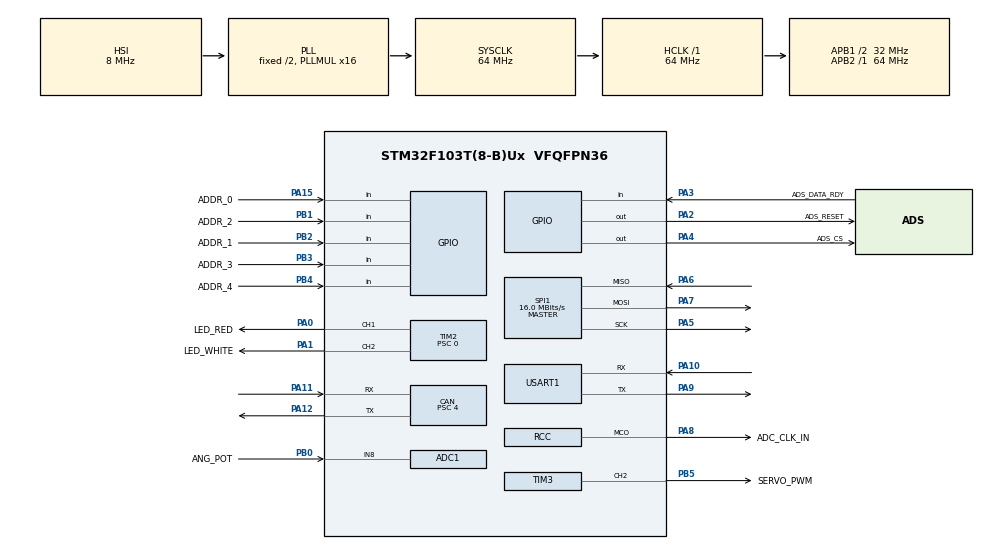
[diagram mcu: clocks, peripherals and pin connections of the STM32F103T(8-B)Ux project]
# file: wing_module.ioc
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ADC1.Channel-4\#ChannelRegularConversion=ADC_CHANNEL_8
ADC1.ContinuousConvMode=ENABLE
ADC1.NbrOfConversionFlag=1
ADC1.Rank-4\#ChannelRegularConversion=1
ADC1.SamplingTime-4\#ChannelRegularConversion=ADC_SAMPLETIME_1CYCLE_5
ADC1.master=1
CAN.BS1=CAN_BS1_12TQ
CAN.BS2=CAN_BS2_3TQ
CAN.CalculateBaudRate=500000
CAN.CalculateTimeBit=2000
CAN.CalculateTimeQuantum=125.0
CAN.NART=ENABLE
CAN.Prescaler=4
CAN.SJW=CAN_SJW_1TQ
CAN.TTCM=ENABLE
Mcu.Family=STM32F1
Mcu.Name=STM32F103T(8-B)Ux
Mcu.Package=VFQFPN36
NVIC.PriorityGroup=NVIC_PRIORITYGROUP_4
NVIC.TIM1_UP_IRQn=true\:15\:0\:false\:false\:true\:false\:true\:true
NVIC.TimeBase=TIM1_UP_IRQn
NVIC.TimeBaseIP=TIM1
PA0-WKUP.GPIO_Label=LED_RED
PA0-WKUP.GPIO_Speed=GPIO_SPEED_FREQ_LOW
PA0-WKUP.Signal=S_TIM2_CH1_ETR
PA1.GPIO_Label=LED_WHITE
PA1.Signal=S_TIM2_CH2
PA10.Mode=Asynchronous
PA10.Signal=USART1_RX
PA11.Mode=CAN_Activate
PA11.Signal=CAN_RX
PA12.Mode=CAN_Activate
PA12.Signal=CAN_TX
PA13.Mode=Serial_Wire
PA13.Signal=SYS_JTMS-SWDIO
PA14.Mode=Serial_Wire
PA14.Signal=SYS_JTCK-SWCLK
PA15.GPIO_Label=ADDR_0
PA15.GPIO_PuPd=GPIO_PULLDOWN
PA15.Signal=GPIO_Input
PA2.GPIO_Label=ADS_RESET
PA2.Signal=GPIO_Output
PA3.GPIO_Label=ADS_DATA_RDY
PA3.GPIO_PuPd=GPIO_PULLUP
PA3.Signal=GPIO_Input
PA4.GPIO_Label=ADS_CS
PA4.Signal=GPIO_Output
PA5.Mode=Full_Duplex_Master
PA5.Signal=SPI1_SCK
PA6.Mode=Full_Duplex_Master
PA6.Signal=SPI1_MISO
PA7.Mode=Full_Duplex_Master
PA7.Signal=SPI1_MOSI
PA8.GPIO_Label=ADC_CLK_IN
PA8.Mode=Clock-out
PA8.Signal=RCC_MCO
PA9.Mode=Asynchronous
PA9.Signal=USART1_TX
PB0.GPIO_Label=ANG_POT
PB0.Signal=ADCx_IN8
PB1.GPIO_Label=ADDR_2
PB1.GPIO_PuPd=GPIO_PULLDOWN
PB1.Signal=GPIO_Input
PB2.GPIO_Label=ADDR_1
PB2.GPIO_PuPd=GPIO_PULLDOWN
PB2.Signal=GPIO_Input
PB3.GPIO_Label=ADDR_3
PB3.GPIO_PuPd=GPIO_PULLDOWN
PB3.Signal=GPIO_Input
PB4.GPIO_Label=ADDR_4
PB4.GPIO_PuPd=GPIO_PULLDOWN
PB4.Signal=GPIO_Input
PB5.GPIO_Label=SERVO_PWM
PB5.Signal=S_TIM3_CH2
PB6.Signal=I2C1_SCL
PB7.Signal=I2C1_SDA
ProjectManager.HeapSize=0x200
ProjectManager.StackSize=0x400
ProjectManager.TargetToolchain=STM32CubeIDE
RCC.ADCPresc=RCC_ADCPCLK2_DIV8
RCC.AHBFreq_Value=64000000
RCC.APB1CLKDivider=RCC_HCLK_DIV2
RCC.APB1Freq_Value=32000000
RCC.APB1TimFreq_Value=64000000
RCC.APB2Freq_Value=64000000
RCC.APB2TimFreq_Value=64000000
RCC.HCLKFreq_Value=64000000
RCC.PLLMUL=RCC_PLL_MUL16
RCC.RCC_MCOSource=RCC_MCO1SOURCE_HSI
RCC.SYSCLKFreq_VALUE=64000000
RCC.SYSCLKSource=RCC_SYSCLKSOURCE_PLLCLK
RCC.USBFreq_Value=64000000
SH.ADCx_IN8.0=ADC1_IN8,IN8
SH.S_TIM2_CH1_ETR.0=TIM2_CH1,PWM Generation1 CH1
SH.S_TIM2_CH2.0=TIM2_CH2,PWM Generation2 CH2
SH.S_TIM3_CH2.0=TIM3_CH2,PWM Generation2 CH2
SPI1.BaudRatePrescaler=SPI_BAUDRATEPRESCALER_4
SPI1.CLKPhase=SPI_PHASE_2EDGE
SPI1.CRCCalculation=SPI_CRCCALCULATION_DISABLE
SPI1.CalculateBaudRate=16.0 MBits/s
SPI1.Direction=SPI_DIRECTION_2LINES
SPI1.Mode=SPI_MODE_MASTER
SPI1.VirtualType=VM_MASTER
TIM2.Channel-PWM\ Generation1\ CH1=TIM_CHANNEL_1
TIM2.Channel-PWM\ Generation2\ CH2=TIM_CHANNEL_2
TIM2.Period=255
TIM2.Prescaler=0
TIM2.Pulse-PWM\ Generation1\ CH1=127
TIM2.Pulse-PWM\ Generation2\ CH2=127
TIM3.AutoReloadPreload=TIM_AUTORELOAD_PRELOAD_ENABLE
TIM3.Channel-PWM\ Generation2\ CH2=TIM_CHANNEL_2
TIM3.ClockDivision=TIM_CLOCKDIVISION_DIV1
TIM3.Period=19999
TIM3.Prescaler=63
USART1.VirtualMode=VM_ASYNC
VP_SYS_VS_tim1.Mode=TIM1
VP_TIM2_VS_ClockSourceINT.Mode=Internal
VP_TIM3_VS_ClockSourceINT.Mode=Internal
board=custom

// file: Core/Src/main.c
/* USER CODE BEGIN Header */
/**
  ******************************************************************************
  * @file           : main.c
  * @brief          : Main program body
  ******************************************************************************
  * @attention
  *
  * Copyright (c) 2025 STMicroelectronics.
  * All rights reserved.
  *
  * This software is licensed under terms that can be found in the LICENSE file
  * in the root directory of this software component.
  * If no LICENSE file comes with this software, it is provided AS-IS.
  *
  ******************************************************************************
  */
/* USER CODE END Header */
#include "main.h"

/* USER CODE BEGIN Includes */
#include "wing_module_config.h"
#include "can_wrapper.h"
#include <stdint.h>
#include <stdio.h>
#include <string.h>
#include "ads131m03.h"
#include "led_control.h"
#include "surface_control.h"
/* USER CODE END Includes */

ADC_HandleTypeDef hadc1;

CAN_HandleTypeDef hcan;

SPI_HandleTypeDef hspi1;

TIM_HandleTypeDef htim2;
TIM_HandleTypeDef htim3;

UART_HandleTypeDef huart1;

/* USER CODE BEGIN PV */
struct WingModuleConfig config;
/* USER CODE END PV */

void SystemClock_Config(void);
static void MX_GPIO_Init(void);
static void MX_CAN_Init(void);
static void MX_SPI1_Init(void);
static void MX_TIM2_Init(void);
static void MX_USART1_UART_Init(void);
static void MX_ADC1_Init(void);
static void MX_TIM3_Init(void);
/* USER CODE BEGIN PFP */
#ifdef __GNUC__
/* With GCC/RAISONANCE, small printf (option LD Linker->Libraries->Small printf
   set to 'Yes') calls __io_putchar() */
#define PUTCHAR_PROTOTYPE int __io_putchar(int ch)
#else
#define PUTCHAR_PROTOTYPE int fputc(int ch, FILE *f)
#endif /* __GNUC__ */
/* USER CODE END PFP */

/* USER CODE BEGIN 0 */

// Since we have two FIFOs, I'll use one for configuration messages and the other for commands to the module
void can_process_config_message(struct WingModuleConfig* config, CAN_HandleTypeDef* can) {
	int messages = HAL_CAN_GetRxFifoFillLevel(can, CAN_CONFIG_FIFO);

	for (int i = 0; i < messages; i++) {
		CAN_RxHeaderTypeDef header;
		uint8_t buffer[8];
		HAL_CAN_GetRxMessage(can, CAN_CONFIG_FIFO, &header, buffer);

		unsigned int config_type = (header.StdId >> CAN_CONFIG_BIT_START) & 0x7;

		uint8_t reference_buffer[8];
		size_t length_to_consider = 0;

		switch (config_type) {
		case CONFIG_MESSAGE_GENERAL:
			length_to_consider = can_pack_node_general_config_command(reference_buffer, config->general);
			break;
		case CONFIG_MESSAGE_SERVO:
			length_to_consider = can_pack_servo_config_command(reference_buffer, config->servo);
			break;
		case CONFIG_MESSAGE_TORSION:
			length_to_consider = can_pack_strain_gauge_config_command(reference_buffer, config->torsion);
			break;
		case CONFIG_MESSAGE_STRAIN:
			length_to_consider = can_pack_strain_gauge_config_command(reference_buffer, config->strain);
			break;
		case CONFIG_MESSAGE_INDICATOR:
			length_to_consider = can_pack_indicator_config_command(reference_buffer, config->indicator);
			break;
		case CONFIG_MESSAGE_LIDAR:
			length_to_consider = can_pack_lidar_config_command(reference_buffer, config->lidar);
			break;
		default:
			continue; // Ignore unrecognized messages
		}

		bool matches_old = memcmp(reference_buffer, buffer, length_to_consider) == 0;
		bool need_this_config = (config->configuration_needed & (1 << config_type)) != 0;
		if (matches_old && !need_this_config) continue; // Skip updates if unnecessary repetition

		// Mask out the received configuration
		config->configuration_needed &= ~(1 << config_type);

		// Need to update CAN filters if the configuration changes
		switch (config_type) {
		case CONFIG_MESSAGE_GENERAL:
			can_unpack_node_general_config_command(buffer, &config->general);

			// Reset configuration
			config->configuration_needed = 0;
			if (config->general.driving_servo) 			config->configuration_needed |= 1 << CONFIG_MESSAGE_SERVO;
			if (config->general.measuring_torsion) 		config->configuration_needed |= 1 << CONFIG_MESSAGE_TORSION;
			if (config->general.measuring_strain) 		config->configuration_needed |= 1 << CONFIG_MESSAGE_STRAIN;
			if (config->general.operating_indicator) 	config->configuration_needed |= 1 << CONFIG_MESSAGE_INDICATOR;
			if (config->general.measuring_lidar) 		config->configuration_needed |= 1 << CONFIG_MESSAGE_LIDAR;
			surface_stop(); // Stop driving surface

			break;
		case CONFIG_MESSAGE_SERVO:
			can_unpack_servo_config_command(buffer, &config->servo);

			struct SurfaceConfiguration servo_config = {
				.misalignment_alarm_sec = config->servo.misalignment_alarm_sec,
				.position_tolerance = config->servo.position_tolerance_half_percent * 0.005,

				.pot_adc = &hadc1,
				.potentiometer_bottom = config->servo.potentiometer_bottom,
				.potentiometer_top = config->servo.potentiometer_top,

				.scheme = config->servo.scheme,

				.servo_bottom_us = config->servo.servo_bottom_us,
				.servo_top_us = config->servo.servo_top_us,
				.servo_timer = &htim3,
				.servo_timer_channel = TIM_CHANNEL_2,
			};

			surface_start(servo_config);
			break;
		case CONFIG_MESSAGE_TORSION:
			can_unpack_strain_gauge_config_command(buffer, &config->torsion);

			struct ADSChannelProcessingConfig temp_torsion = {
				.buffer_length = 64 * (config->torsion.buffer_depth_64_samples + 1),
				.gain = config->torsion.gain,
				.osr = config->torsion.osr,
				.zero_point = config->torsion.zero_point,
				.scaling_factor = config->torsion.scaling_factor,
			};

			ads_configure_channel(ADS_CHANNEL_TORSION, temp_torsion);
			break;
		case CONFIG_MESSAGE_STRAIN:
			can_unpack_strain_gauge_config_command(buffer, &config->strain);

			struct ADSChannelProcessingConfig temp_strain = {
				.buffer_length = 64 * (config->strain.buffer_depth_64_samples + 1),
				.gain = config->strain.gain,
				.osr = config->strain.osr,
				.zero_point = config->strain.zero_point,
				.scaling_factor = config->strain.scaling_factor,
			};

			ads_configure_channel(ADS_CHANNEL_STRAIN, temp_strain);
			break;
		case CONFIG_MESSAGE_INDICATOR:
			can_unpack_indicator_config_command(buffer, &config->indicator);
			break;
		case CONFIG_MESSAGE_LIDAR:
			can_unpack_lidar_config_command(buffer, &config->lidar);
			break;
		}
	}

	if (config->configuration_needed == 0) {
		can_update_node_filters(config, can);
	}
}

void can_process_control_message(struct WingModuleConfig* config, CAN_HandleTypeDef* can) {

}
/* USER CODE END 0 */

int main(void)
{

  /* MCU Configuration--------------------------------------------------------*/

  /* Reset of all peripherals, Initializes the Flash interface and the Systick. */
  HAL_Init();

  /* Configure the system clock */
  SystemClock_Config();

  /* Initialize all configured peripherals */
  MX_GPIO_Init();
  MX_CAN_Init();
  MX_SPI1_Init();
  MX_TIM2_Init();
  MX_USART1_UART_Init();
  MX_ADC1_Init();
  MX_TIM3_Init();
  /* USER CODE BEGIN 2 */

   	// NOTE: for some reason starting I2C causes issues on the channel 2 of timer 3, so it may need to be disabled for servo destined modules

	config.node_id = 0;
	const bool ADDRESS_ACTIVE = true;
	if (HAL_GPIO_ReadPin(ADDR_0_GPIO_Port, ADDR_0_Pin) == ADDRESS_ACTIVE) config.node_id += 1;
	if (HAL_GPIO_ReadPin(ADDR_1_GPIO_Port, ADDR_1_Pin) == ADDRESS_ACTIVE) config.node_id += 2;
	if (HAL_GPIO_ReadPin(ADDR_2_GPIO_Port, ADDR_2_Pin) == ADDRESS_ACTIVE) config.node_id += 4;
	if (HAL_GPIO_ReadPin(ADDR_3_GPIO_Port, ADDR_3_Pin) == ADDRESS_ACTIVE) config.node_id += 8;
	if (HAL_GPIO_ReadPin(ADDR_4_GPIO_Port, ADDR_4_Pin) == ADDRESS_ACTIVE) config.node_id += 16;
	printf("Recorded node ID as %d\r\n", config.node_id);

	config.configuration_needed = (1 << CONFIG_MESSAGE_GENERAL); // Mark need for main configuration
	// Perhaps in the future we can read in previous configuration from flash here

	can_update_node_filters(&config, &hcan);

	struct ADSConfig ads_config = {
		.bus = &hspi1,
		.cs_pin = ADS_CS_Pin,
		.cs_port = ADS_CS_GPIO_Port,
		.reset_pin = ADS_RESET_Pin,
		.reset_port = ADS_RESET_GPIO_Port,
		.data_ready_pin = ADS_DATA_RDY_Pin,
		.data_ready_port = ADS_DATA_RDY_GPIO_Port,
	};
	ads_begin(ads_config);

	struct LEDControl led = {
		.error_light_on = config.configuration_needed != 0,
		.heart_beat_max_duty = UINT8_MAX,
		.heart_beat_min_duty = 0,
		.new_pulse_data = true,
		.pulse_count = 3, // Run some flashes to start
		.pulse_period_on_ms = 1000,
		.pulse_period_off_ms = 300,

		.error_timer = &htim2,
		.error_channel = LED_RED_CHANNEL,
		.status_timer = &htim2,
		.status_channel = LED_WHITE_CHANNEL,
	};

	struct SurfaceConfiguration servo_config = {
		.misalignment_alarm_sec = 5,
		.position_tolerance = 0.1,

		.pot_adc = &hadc1,
		.potentiometer_bottom = 0,
		.potentiometer_top = 4095,

		.scheme = CONTROL_SCHEME_OPEN,

		.servo_bottom_us = 1500,
		.servo_top_us = 2500,
		.servo_timer = &htim3,
		.servo_timer_channel = SERVO_CHANNEL,
	};

	surface_start(servo_config);
  /* USER CODE END 2 */

  /* Infinite loop */
  /* USER CODE BEGIN WHILE */
	while (1) {
		const uint32_t CURRENT_TICK = HAL_GetTick();

		ads_update_channels();
		surface_control_loop();

		static uint32_t tick_mark_broadcast_ms = 0;
		if (CURRENT_TICK > tick_mark_broadcast_ms) {
			tick_mark_broadcast_ms = CURRENT_TICK + config.general.update_period_ms;
			uint8_t tx_buffer[8];

			if (config.general.measuring_strain || config.general.measuring_torsion) {
				struct CANLoadBroadcast msg = {
					.strain_reading = 0,
					.torsion_reading = 0,
				};
				if (config.general.measuring_strain) msg.strain_reading = ads_read_channel(ADS_CHANNEL_STRAIN);
				if (config.general.measuring_torsion) msg.torsion_reading = ads_read_channel(ADS_CHANNEL_TORSION);
				can_pack_load_broadcast(tx_buffer, msg);

				printf("T: %.3f\tS: %.3f\r\n", msg.torsion_reading, msg.strain_reading);

				CAN_TxHeaderTypeDef strain_gauge_header = {
					.StdId = CAN_BROADCAST_LOAD_ID_BASE | config.node_id,
					.DLC = sizeof(struct CANLoadBroadcast),
					.ExtId = 0,
					.IDE = CAN_ID_STD,
					.RTR = CAN_RTR_DATA,
					.TransmitGlobalTime = DISABLE,
				};
				uint32_t mailbox;
				if (HAL_CAN_AddTxMessage(&hcan, &strain_gauge_header, tx_buffer, &mailbox) == HAL_OK) {
					printf("SENT STRAIN READINGS OVER CAN\r\n");
				}
			}

			if (config.general.driving_servo) {
				struct CANSurfaceBroadcast msg = {
					.reading_thousandths = 0,
					.surface_not_following = false,
				};
				surface_prepare_broadcast(&msg);
				can_pack_surface_broadcast(tx_buffer, msg);

				printf("Angle: %.3f\tAlarm: %d\r\n", msg.reading_thousandths / 1000.0, msg.surface_not_following);

				CAN_TxHeaderTypeDef angle_header = {
					.StdId = CAN_BROADCAST_ANGLE_ID | config.servo.surface,
					.DLC = sizeof(struct CANSurfaceBroadcast),
					.ExtId = 0,
					.IDE = CAN_ID_STD,
					.RTR = CAN_RTR_DATA,
					.TransmitGlobalTime = DISABLE,
				};
				uint32_t mailbox;
				if (HAL_CAN_AddTxMessage(&hcan, &angle_header, tx_buffer, &mailbox) == HAL_OK) {
					printf("SENT ANGLE OVER CAN\r\n");
				}
			}
		}

		while (HAL_CAN_GetRxFifoFillLevel(&hcan, CAN_CONFIG_FIFO) > 0) {
			can_process_config_message(&config, &hcan);
		}

		while (HAL_CAN_GetRxFifoFillLevel(&hcan, CAN_COMMAND_FIFO) > 0) {
			uint8_t command_buffer[8];
			CAN_RxHeaderTypeDef command_header;

			HAL_CAN_GetRxMessage(&hcan, CAN_COMMAND_FIFO, &command_header, command_buffer);
			printf("Received command via filter %ld\r\n", command_header.FilterMatchIndex);

			switch (command_header.FilterMatchIndex) {
			case CAN_COMMAND_LIGHT_FILTER_NUMBER:
				struct CANLightCommand light_command = {0};
				can_unpack_light_command(command_buffer, &light_command);

				led.pulse_count = light_command.pulse_count;
				led.pulse_period_off_ms = light_command.pulse_period_off_ms;
				led.pulse_period_on_ms = light_command.pulse_period_on_ms;
				led.heart_beat_max_duty = light_command.heart_beat_max_duty;
				led.heart_beat_min_duty = light_command.heart_beat_min_duty;
				led.new_pulse_data = true;
				break;
			case CAN_COMMAND_ANGLE_FILTER_BANK:
				struct CANSurfaceCommand surface_command;
				can_unpack_surface_command(command_buffer, &surface_command);

				surface_update_command(surface_command);
				break;
			default:
				break;
			}
		}

		led.error_light_on = config.configuration_needed != 0; // Illuminate error if lacking configuration
		// TODO: Add error lighting if the servo is failing to hit the commands?
		operate_led(&led);
    /* USER CODE END WHILE */

	}
}

void SystemClock_Config(void)
{
  RCC_OscInitTypeDef RCC_OscInitStruct = {0};
  RCC_ClkInitTypeDef RCC_ClkInitStruct = {0};
  RCC_PeriphCLKInitTypeDef PeriphClkInit = {0};

  /** Initializes the RCC Oscillators according to the specified parameters
  * in the RCC_OscInitTypeDef structure.
  */
  RCC_OscInitStruct.OscillatorType = RCC_OSCILLATORTYPE_HSI;
  RCC_OscInitStruct.HSIState = RCC_HSI_ON;
  RCC_OscInitStruct.HSICalibrationValue = RCC_HSICALIBRATION_DEFAULT;
  RCC_OscInitStruct.PLL.PLLState = RCC_PLL_ON;
  RCC_OscInitStruct.PLL.PLLSource = RCC_PLLSOURCE_HSI_DIV2;
  RCC_OscInitStruct.PLL.PLLMUL = RCC_PLL_MUL16;
  if (HAL_RCC_OscConfig(&RCC_OscInitStruct) != HAL_OK)
  {
    Error_Handler();
  }

  /** Initializes the CPU, AHB and APB buses clocks
  */
  RCC_ClkInitStruct.ClockType = RCC_CLOCKTYPE_HCLK|RCC_CLOCKTYPE_SYSCLK
                              |RCC_CLOCKTYPE_PCLK1|RCC_CLOCKTYPE_PCLK2;
  RCC_ClkInitStruct.SYSCLKSource = RCC_SYSCLKSOURCE_PLLCLK;
  RCC_ClkInitStruct.AHBCLKDivider = RCC_SYSCLK_DIV1;
  RCC_ClkInitStruct.APB1CLKDivider = RCC_HCLK_DIV2;
  RCC_ClkInitStruct.APB2CLKDivider = RCC_HCLK_DIV1;

  if (HAL_RCC_ClockConfig(&RCC_ClkInitStruct, FLASH_LATENCY_2) != HAL_OK)
  {
    Error_Handler();
  }
  PeriphClkInit.PeriphClockSelection = RCC_PERIPHCLK_ADC;
  PeriphClkInit.AdcClockSelection = RCC_ADCPCLK2_DIV8;
  if (HAL_RCCEx_PeriphCLKConfig(&PeriphClkInit) != HAL_OK)
  {
    Error_Handler();
  }
  HAL_RCC_MCOConfig(RCC_MCO, RCC_MCO1SOURCE_HSI, RCC_MCODIV_1);
}

static void MX_ADC1_Init(void)
{

  ADC_ChannelConfTypeDef sConfig = {0};

  /** Common config
  */
  hadc1.Instance = ADC1;
  hadc1.Init.ScanConvMode = ADC_SCAN_DISABLE;
  hadc1.Init.ContinuousConvMode = ENABLE;
  hadc1.Init.DiscontinuousConvMode = DISABLE;
  hadc1.Init.ExternalTrigConv = ADC_SOFTWARE_START;
  hadc1.Init.DataAlign = ADC_DATAALIGN_RIGHT;
  hadc1.Init.NbrOfConversion = 1;
  if (HAL_ADC_Init(&hadc1) != HAL_OK)
  {
    Error_Handler();
  }

  /** Configure Regular Channel
  */
  sConfig.Channel = ADC_CHANNEL_8;
  sConfig.Rank = ADC_REGULAR_RANK_1;
  sConfig.SamplingTime = ADC_SAMPLETIME_1CYCLE_5;
  if (HAL_ADC_ConfigChannel(&hadc1, &sConfig) != HAL_OK)
  {
    Error_Handler();
  }
  /* USER CODE BEGIN ADC1_Init 2 */
  HAL_ADCEx_Calibration_Start(&hadc1); // Recommended before operating
  HAL_Delay(1); // Some time for the calibration to occur
  HAL_ADC_Start(&hadc1);
  /* USER CODE END ADC1_Init 2 */

}

static void MX_CAN_Init(void)
{

  hcan.Instance = CAN1;
  hcan.Init.Prescaler = 4;
  hcan.Init.Mode = CAN_MODE_NORMAL;
  hcan.Init.SyncJumpWidth = CAN_SJW_1TQ;
  hcan.Init.TimeSeg1 = CAN_BS1_12TQ;
  hcan.Init.TimeSeg2 = CAN_BS2_3TQ;
  hcan.Init.TimeTriggeredMode = ENABLE;
  hcan.Init.AutoBusOff = DISABLE;
  hcan.Init.AutoWakeUp = DISABLE;
  hcan.Init.AutoRetransmission = ENABLE;
  hcan.Init.ReceiveFifoLocked = DISABLE;
  hcan.Init.TransmitFifoPriority = DISABLE;
  if (HAL_CAN_Init(&hcan) != HAL_OK)
  {
    Error_Handler();
  }

}

static void MX_SPI1_Init(void)
{

  /* SPI1 parameter configuration*/
  hspi1.Instance = SPI1;
  hspi1.Init.Mode = SPI_MODE_MASTER;
  hspi1.Init.Direction = SPI_DIRECTION_2LINES;
  hspi1.Init.DataSize = SPI_DATASIZE_8BIT;
  hspi1.Init.CLKPolarity = SPI_POLARITY_LOW;
  hspi1.Init.CLKPhase = SPI_PHASE_2EDGE;
  hspi1.Init.NSS = SPI_NSS_SOFT;
  hspi1.Init.BaudRatePrescaler = SPI_BAUDRATEPRESCALER_4;
  hspi1.Init.FirstBit = SPI_FIRSTBIT_MSB;
  hspi1.Init.TIMode = SPI_TIMODE_DISABLE;
  hspi1.Init.CRCCalculation = SPI_CRCCALCULATION_DISABLE;
  hspi1.Init.CRCPolynomial = 10;
  if (HAL_SPI_Init(&hspi1) != HAL_OK)
  {
    Error_Handler();
  }

}

static void MX_TIM2_Init(void)
{

  TIM_ClockConfigTypeDef sClockSourceConfig = {0};
  TIM_MasterConfigTypeDef sMasterConfig = {0};
  TIM_OC_InitTypeDef sConfigOC = {0};

  htim2.Instance = TIM2;
  htim2.Init.Prescaler = 0;
  htim2.Init.CounterMode = TIM_COUNTERMODE_UP;
  htim2.Init.Period = 255;
  htim2.Init.ClockDivision = TIM_CLOCKDIVISION_DIV1;
  htim2.Init.AutoReloadPreload = TIM_AUTORELOAD_PRELOAD_DISABLE;
  if (HAL_TIM_Base_Init(&htim2) != HAL_OK)
  {
    Error_Handler();
  }
  sClockSourceConfig.ClockSource = TIM_CLOCKSOURCE_INTERNAL;
  if (HAL_TIM_ConfigClockSource(&htim2, &sClockSourceConfig) != HAL_OK)
  {
    Error_Handler();
  }
  if (HAL_TIM_PWM_Init(&htim2) != HAL_OK)
  {
    Error_Handler();
  }
  sMasterConfig.MasterOutputTrigger = TIM_TRGO_RESET;
  sMasterConfig.MasterSlaveMode = TIM_MASTERSLAVEMODE_DISABLE;
  if (HAL_TIMEx_MasterConfigSynchronization(&htim2, &sMasterConfig) != HAL_OK)
  {
    Error_Handler();
  }
  sConfigOC.OCMode = TIM_OCMODE_PWM1;
  sConfigOC.Pulse = 127;
  sConfigOC.OCPolarity = TIM_OCPOLARITY_HIGH;
  sConfigOC.OCFastMode = TIM_OCFAST_DISABLE;
  if (HAL_TIM_PWM_ConfigChannel(&htim2, &sConfigOC, TIM_CHANNEL_1) != HAL_OK)
  {
    Error_Handler();
  }
  if (HAL_TIM_PWM_ConfigChannel(&htim2, &sConfigOC, TIM_CHANNEL_2) != HAL_OK)
  {
    Error_Handler();
  }
  /* USER CODE BEGIN TIM2_Init 2 */
  HAL_TIM_PWM_Start(&htim2, TIM_CHANNEL_1);
  HAL_TIM_PWM_Start(&htim2, TIM_CHANNEL_2);
  /* USER CODE END TIM2_Init 2 */
  HAL_TIM_MspPostInit(&htim2);

}

static void MX_TIM3_Init(void)
{

  TIM_ClockConfigTypeDef sClockSourceConfig = {0};
  TIM_MasterConfigTypeDef sMasterConfig = {0};
  TIM_OC_InitTypeDef sConfigOC = {0};

  htim3.Instance = TIM3;
  htim3.Init.Prescaler = 63;
  htim3.Init.CounterMode = TIM_COUNTERMODE_UP;
  htim3.Init.Period = 19999;
  htim3.Init.ClockDivision = TIM_CLOCKDIVISION_DIV1;
  htim3.Init.AutoReloadPreload = TIM_AUTORELOAD_PRELOAD_ENABLE;
  if (HAL_TIM_Base_Init(&htim3) != HAL_OK)
  {
    Error_Handler();
  }
  sClockSourceConfig.ClockSource = TIM_CLOCKSOURCE_INTERNAL;
  if (HAL_TIM_ConfigClockSource(&htim3, &sClockSourceConfig) != HAL_OK)
  {
    Error_Handler();
  }
  if (HAL_TIM_PWM_Init(&htim3) != HAL_OK)
  {
    Error_Handler();
  }
  sMasterConfig.MasterOutputTrigger = TIM_TRGO_RESET;
  sMasterConfig.MasterSlaveMode = TIM_MASTERSLAVEMODE_DISABLE;
  if (HAL_TIMEx_MasterConfigSynchronization(&htim3, &sMasterConfig) != HAL_OK)
  {
    Error_Handler();
  }
  sConfigOC.OCMode = TIM_OCMODE_PWM1;
  sConfigOC.Pulse = 0;
  sConfigOC.OCPolarity = TIM_OCPOLARITY_HIGH;
  sConfigOC.OCFastMode = TIM_OCFAST_DISABLE;
  if (HAL_TIM_PWM_ConfigChannel(&htim3, &sConfigOC, TIM_CHANNEL_2) != HAL_OK)
  {
    Error_Handler();
  }
  HAL_TIM_MspPostInit(&htim3);

}

static void MX_USART1_UART_Init(void)
{

  huart1.Instance = USART1;
  huart1.Init.BaudRate = 115200;
  huart1.Init.WordLength = UART_WORDLENGTH_8B;
  huart1.Init.StopBits = UART_STOPBITS_1;
  huart1.Init.Parity = UART_PARITY_NONE;
  huart1.Init.Mode = UART_MODE_TX_RX;
  huart1.Init.HwFlowCtl = UART_HWCONTROL_NONE;
  huart1.Init.OverSampling = UART_OVERSAMPLING_16;
  if (HAL_UART_Init(&huart1) != HAL_OK)
  {
    Error_Handler();
  }

}

static void MX_GPIO_Init(void)
{
  GPIO_InitTypeDef GPIO_InitStruct = {0};

  /* GPIO Ports Clock Enable */
  __HAL_RCC_GPIOA_CLK_ENABLE();
  __HAL_RCC_GPIOB_CLK_ENABLE();

  /*Configure GPIO pin Output Level */
  HAL_GPIO_WritePin(GPIOA, ADS_RESET_Pin|ADS_CS_Pin, GPIO_PIN_RESET);

  /*Configure GPIO pins : ADS_RESET_Pin ADS_CS_Pin */
  GPIO_InitStruct.Pin = ADS_RESET_Pin|ADS_CS_Pin;
  GPIO_InitStruct.Mode = GPIO_MODE_OUTPUT_PP;
  GPIO_InitStruct.Pull = GPIO_NOPULL;
  GPIO_InitStruct.Speed = GPIO_SPEED_FREQ_LOW;
  HAL_GPIO_Init(GPIOA, &GPIO_InitStruct);

  /*Configure GPIO pin : ADS_DATA_RDY_Pin */
  GPIO_InitStruct.Pin = ADS_DATA_RDY_Pin;
  GPIO_InitStruct.Mode = GPIO_MODE_INPUT;
  GPIO_InitStruct.Pull = GPIO_PULLUP;
  HAL_GPIO_Init(ADS_DATA_RDY_GPIO_Port, &GPIO_InitStruct);

  /*Configure GPIO pins : ADDR_2_Pin ADDR_1_Pin ADDR_3_Pin ADDR_4_Pin */
  GPIO_InitStruct.Pin = ADDR_2_Pin|ADDR_1_Pin|ADDR_3_Pin|ADDR_4_Pin;
  GPIO_InitStruct.Mode = GPIO_MODE_INPUT;
  GPIO_InitStruct.Pull = GPIO_PULLDOWN;
  HAL_GPIO_Init(GPIOB, &GPIO_InitStruct);

  /*Configure GPIO pin : ADC_CLK_IN_Pin */
  GPIO_InitStruct.Pin = ADC_CLK_IN_Pin;
  GPIO_InitStruct.Mode = GPIO_MODE_AF_PP;
  GPIO_InitStruct.Speed = GPIO_SPEED_FREQ_LOW;
  HAL_GPIO_Init(ADC_CLK_IN_GPIO_Port, &GPIO_InitStruct);

  /*Configure GPIO pin : ADDR_0_Pin */
  GPIO_InitStruct.Pin = ADDR_0_Pin;
  GPIO_InitStruct.Mode = GPIO_MODE_INPUT;
  GPIO_InitStruct.Pull = GPIO_PULLDOWN;
  HAL_GPIO_Init(ADDR_0_GPIO_Port, &GPIO_InitStruct);

  /*Configure GPIO pins : PB6 PB7 */
  GPIO_InitStruct.Pin = GPIO_PIN_6|GPIO_PIN_7;
  GPIO_InitStruct.Mode = GPIO_MODE_AF_OD;
  GPIO_InitStruct.Speed = GPIO_SPEED_FREQ_HIGH;
  HAL_GPIO_Init(GPIOB, &GPIO_InitStruct);

}

/* USER CODE BEGIN 4 */
/**
  * @brief  Retargets the C library printf function to the USART.
  * @param  None
  * @retval None
  */
PUTCHAR_PROTOTYPE
{
  /* Place your implementation of fputc here */
  /* e.g. write a character to the USART1 and Loop until the end of transmission */
  HAL_UART_Transmit(&huart1, (uint8_t *)&ch, 1, 0xFFFF);

  return ch;
}
/* USER CODE END 4 */

void HAL_TIM_PeriodElapsedCallback(TIM_HandleTypeDef *htim)
{
  if (htim->Instance == TIM1)
  {
    HAL_IncTick();
  }
}

void Error_Handler(void)
{
  __disable_irq();
  while (1)
  {
  }
}
